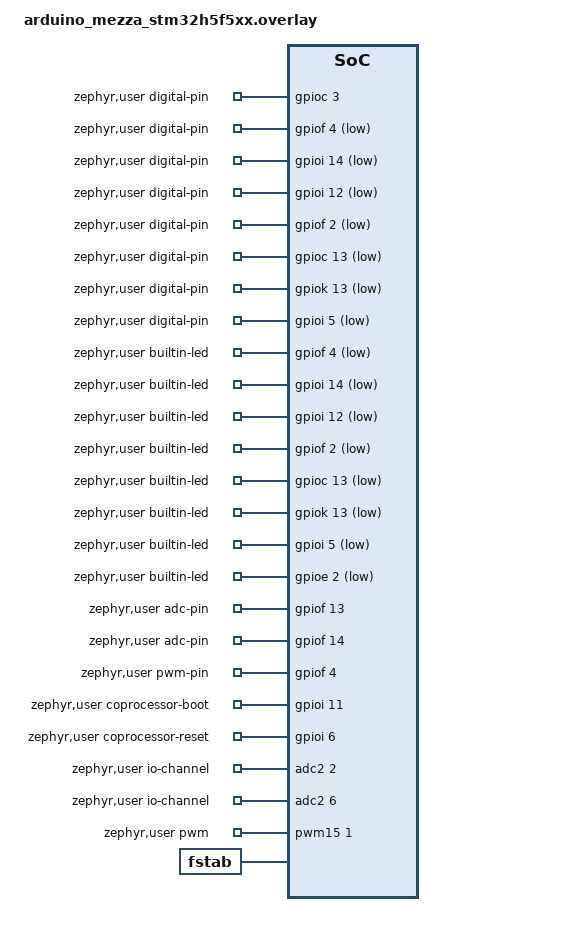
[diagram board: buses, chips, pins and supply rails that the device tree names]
/*
 * Copyright (c) Arduino s.r.l. and/or its affiliated companies
 *
 * SPDX-License-Identifier: Apache-2.0
 */

#include <zephyr/dt-bindings/pwm/stm32_pwm.h>


&fdcan1 {
	zephyr,deferred-init;
};

&fdcan2 {
	zephyr,deferred-init;
};

&uart7 {
	zephyr,deferred-init;
};

&i2c1 {
	zephyr,deferred-init;
};

&i2c2 {
	zephyr,deferred-init;
};

&adc2 {
	zephyr,deferred-init;
	pinctrl-0 = <>;
	pinctrl-1 = <>;
	pinctrl-2 = <&adc2_inp2_pf13 &adc2_inp6_pf14>;
	pinctrl-names = "default", "sleep", "arduino";
};

/ {
	zephyr,user {
		digital-pin-gpios = <&gpioc 3 GPIO_ACTIVE_HIGH>,   /* D0 user button */
				    /* LEDS */
				    <&gpiof 4 GPIO_ACTIVE_LOW>,    /* D1 LED1 blue */
				    <&gpioi 14 GPIO_ACTIVE_LOW>,   /* D2 LED1 green */
				    <&gpioi 12 GPIO_ACTIVE_LOW>,   /* D3 LED1 red */
				    <&gpiof 2 GPIO_ACTIVE_LOW>,    /* D4 LED2 blue */
				    <&gpioc 13 GPIO_ACTIVE_LOW>,   /* D5 LED2 green */
				    <&gpiok 13 GPIO_ACTIVE_LOW>,   /* D6 LED2 red */
				    <&gpioi 5 GPIO_ACTIVE_LOW>,    /* D7 LED3 blue */
				    <&gpioe 2 GPIO_ACTIVE_LOW>,    /* D8 LED3 green */
				    <&gpioi 7 GPIO_ACTIVE_LOW>,    /* D9 LED3 red */
				    <&gpiog 15 GPIO_ACTIVE_HIGH>,  /* D10 LED RADIO */
				    <&gpiob 7 GPIO_ACTIVE_HIGH>,   /* D11 LED ETH */
				    /* RELAY */
				    <&gpioh 2 GPIO_ACTIVE_HIGH>,   /* D12 RELAY 1 */
				    <&gpioh 3 GPIO_ACTIVE_HIGH>,   /* D13 RELAY 2*/
				    /* DETECT OUT */
				    <&gpiob 0 GPIO_ACTIVE_HIGH>,   /* D14 DETECT OUT */
				    /* RS485 RE */
					 <&gpiof 8 GPIO_ACTIVE_HIGH>,   /* D15 RE rs485 */
				    /* RS485 DE */
					 <&gpiof 9 GPIO_ACTIVE_HIGH>,   /* D16 DE rs485 */
				    /* ADCs */
				    <&gpiof 13 GPIO_ACTIVE_HIGH>,  /* A0 */
				    <&gpiof 14 GPIO_ACTIVE_HIGH>;  /* A1 */

		builtin-led-gpios = <&gpiof 4 GPIO_ACTIVE_LOW>,    /* D1 LED1 blue */
				    <&gpioi 14 GPIO_ACTIVE_LOW>,   /* D2 LED1 green */
				    <&gpioi 12 GPIO_ACTIVE_LOW>,   /* D3 LED1 red */
				    <&gpiof 2 GPIO_ACTIVE_LOW>,    /* D4 LED2 blue */
				    <&gpioc 13 GPIO_ACTIVE_LOW>,   /* D5 LED2 green */
				    <&gpiok 13 GPIO_ACTIVE_LOW>,   /* D6 LED2 red */
				    <&gpioi 5 GPIO_ACTIVE_LOW>,    /* D7 LED3 blue */
				    <&gpioe 2 GPIO_ACTIVE_LOW>,    /* D8 LED3 green */
				    <&gpioi 7 GPIO_ACTIVE_LOW>,    /* D9 LED3 red */
				    <&gpiog 15 GPIO_ACTIVE_HIGH>,  /* D10 LED RADIO */
				    <&gpiob 7 GPIO_ACTIVE_HIGH>;   /* D11 LED ETH */

		adc-pin-gpios =	<&gpiof 13 0>,
								<&gpiof 14 0>;

		io-channels = <&adc2 2>,   /* Corresponds to the first analog pin */
				        <&adc2 6>;   /* Corresponds to the second analog pin*/
		
		pwm-pin-gpios = <&gpiof 4 0>;
		
		cdc-acm-serial = <&board_cdc_acm_uart>;
		serials = <&uart7>, <&usart2>;

		/* uart9 and chip-en-gpios (gpioi 6) are wired internally to the
		 * ST67W611M1A6BTR Wi-Fi/BLE radio module (used to flash its
		 * firmware or talk to it directly over UART). Exposed here as
		 * 'coprocessor-*' rather than as a numbered Serial object, so
		 * the module's UART/control pins stay reserved for a bridge
		 * sketch (e.g. WiFiProgrammer) instead of colliding with the
		 * WiFi driver, which already owns chip-en-gpios on &st67w611m1. */
		coprocessor-serial = <&uart9>;
		coprocessor-boot-gpios = <&gpioi 11 GPIO_ACTIVE_HIGH>;
		coprocessor-reset-gpios = <&gpioi 6 GPIO_ACTIVE_HIGH>;

		i2cs = <&i2c2>, <&i2c1>, <&i2c4>;
		spis = <&spi4>, <&spi1>;

		pwms = <&pwm15 1 PWM_HZ(50) PWM_POLARITY_NORMAL>;

		cans = <&fdcan2>, <&fdcan1>;
	};

};

&phy0 {
	compatible = "microchip,ksz8081", "arduino,eth-phy";
};

/* Auto-mount the microSD card (sdhc0/mmc, disk-name = "SD") as a FAT
 * filesystem at "/SD:" on boot, when present. */
/ {
	fstab {
		compatible = "zephyr,fstab";

		sd_fs: sd_fs {
			compatible = "zephyr,fstab,fatfs";
			automount;
			disk-access;
			mount-point = "/SD:";
		};
	};
};

